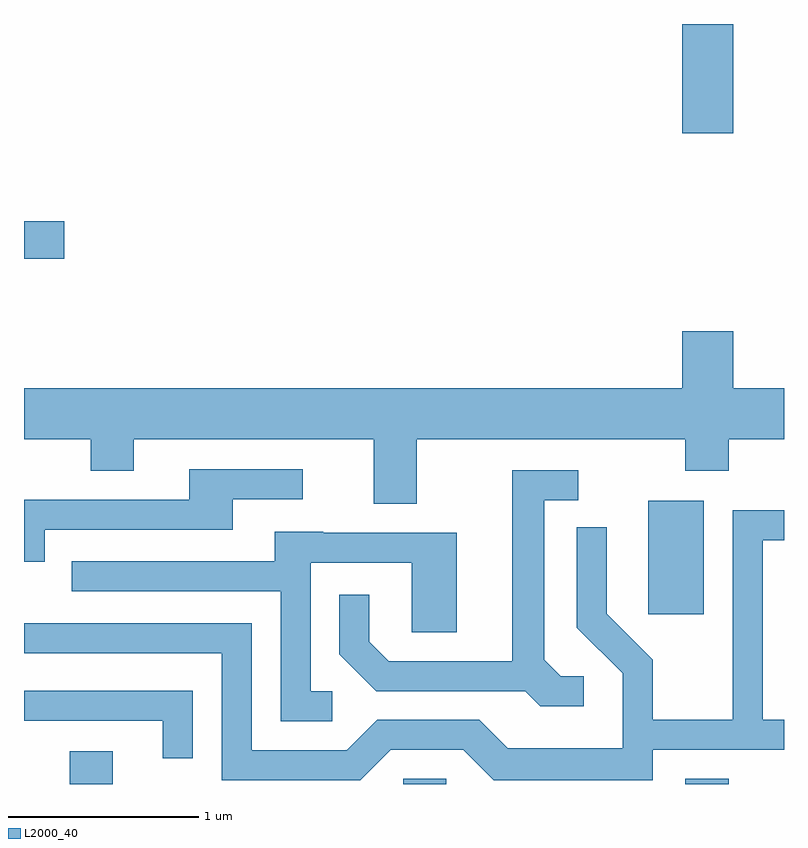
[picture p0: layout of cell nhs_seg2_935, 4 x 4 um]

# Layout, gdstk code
import gdstk
lib = gdstk.Library(unit=1e-6, precision=1e-09)
def R(c, l, rs):  # rectangles x0, y0, x1, y1
    for r in rs: c.add(gdstk.rectangle(r[:2], r[2:], *l))
def P(c, l, *ps):  # polygons
    for p in ps: c.add(gdstk.Polygon(p, *l))
L2000_40 = (2000, 40)

nhs_seg2_935 = lib.new_cell('nhs_seg2_935')
R(nhs_seg2_935, L2000_40, [(211.851,1079.802,212.079,1079.974), (213.606,1079.802,213.834,1079.829), (215.091,1079.802,215.319,1079.829), (214.896,1080.696,215.189,1081.294), (211.611,1082.566,211.824,1082.764), (215.076,1083.226,215.344,1083.802)])
P(nhs_seg2_935, L2000_40, [(213.679,1081.616),(215.091,1081.616),(215.091,1081.451),(215.319,1081.451),(215.319,1081.616),(215.611,1081.616),(215.611,1081.884),(215.344,1081.884),(215.344,1082.184),(215.076,1082.184),(215.076,1081.884),(211.611,1081.884),(211.611,1081.616),(211.961,1081.616),(211.961,1081.451),(212.189,1081.451),(212.189,1081.616),(213.451,1081.616),(213.451,1081.276),(213.679,1081.276)],
  [(211.719,1081.141),(212.709,1081.141),(212.709,1081.301),(213.078,1081.301),(213.078,1081.459),(212.481,1081.459),(212.481,1081.299),(211.611,1081.299),(211.611,1080.971),(211.719,1080.971)],
  [(214.558,1080.369),(214.437,1080.369),(214.349,1080.457),(214.349,1081.296),(214.528,1081.296),(214.528,1081.454),(214.181,1081.454),(214.181,1080.449),(213.532,1080.449),(213.429,1080.552),(213.429,1080.798),(213.271,1080.798),(213.271,1080.484),(213.464,1080.291),(214.249,1080.291),(214.329,1080.211),(214.558,1080.211)],
  [(213.542,1079.981),(213.924,1079.981),(214.084,1079.821),(214.919,1079.821),(214.919,1079.981),(215.611,1079.981),(215.611,1080.139),(215.499,1080.139),(215.499,1081.086),(215.611,1081.086),(215.611,1081.244),(215.341,1081.244),(215.341,1080.139),(214.919,1080.139),(214.919,1080.457),(214.679,1080.697),(214.679,1081.153),(214.521,1081.153),(214.521,1080.624),(214.761,1080.384),(214.761,1079.989),(214.157,1079.989),(214.007,1080.139),(213.469,1080.139),(213.309,1079.979),(212.809,1079.979),(212.809,1080.649),(211.611,1080.649),(211.611,1080.491),(212.651,1080.491),(212.651,1079.821),(213.382,1079.821)],
  [(213.233,1080.289),(213.119,1080.289),(213.119,1080.966),(213.651,1080.966),(213.651,1080.601),(213.889,1080.601),(213.889,1081.124),(213.185,1081.124),(213.185,1081.129),(212.931,1081.129),(212.931,1080.974),(211.863,1080.974),(211.863,1080.816),(212.961,1080.816),(212.961,1080.131),(213.233,1080.131)],
  [(212.499,1080.294),(211.611,1080.294),(211.611,1080.136),(212.341,1080.136),(212.341,1079.938),(212.499,1079.938)])

lib.write_gds('nhs_seg2_935.gds')
